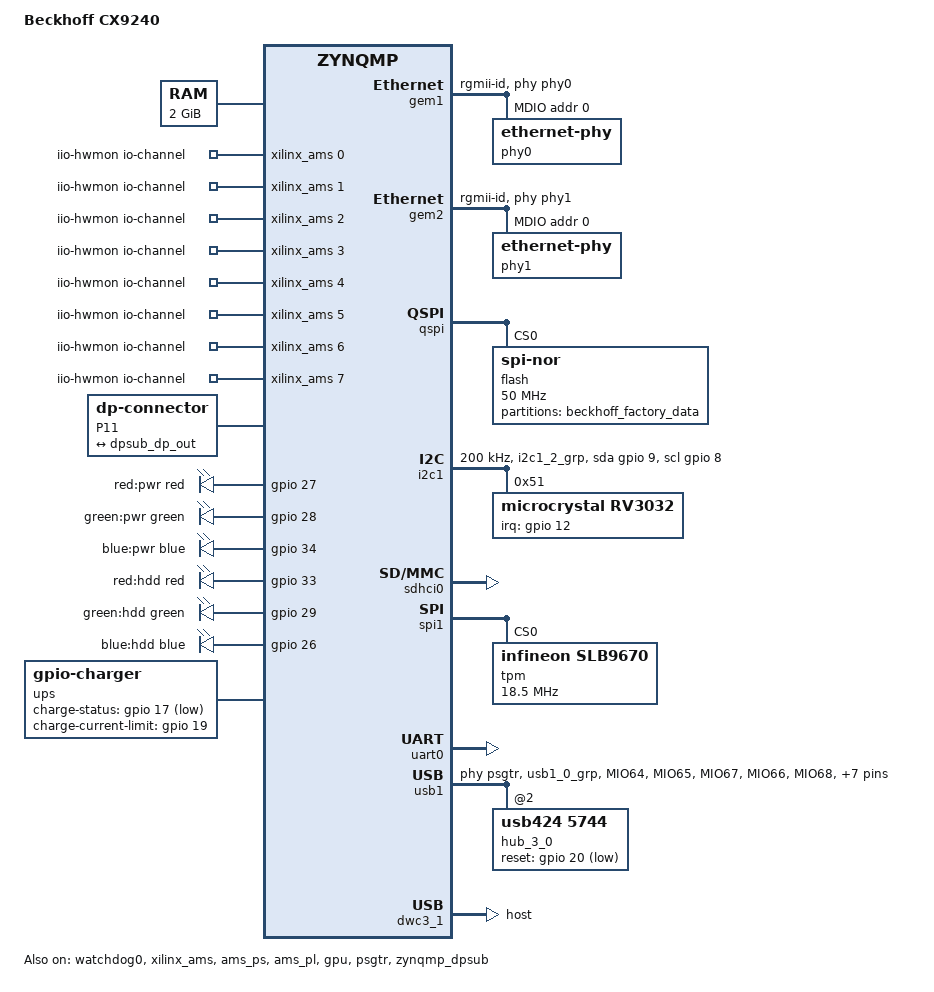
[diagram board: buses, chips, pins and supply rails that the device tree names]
// SPDX-License-Identifier: GPL-2.0+
/*
 * dts file for Beckhoff CX9240
 *
 * (C) Copyright 2023, Beckhoff Automation GmbH & Co. KG
 *
 * Steffen Dirkwinkel <s.dirkwinkel@beckhoff.com>
 */

/dts-v1/;

#include "zynqmp.dtsi"
#include "zynqmp-clk-ccf.dtsi"
#include <dt-bindings/gpio/gpio.h>
#include <dt-bindings/pinctrl/pinctrl-zynqmp.h>
#include <dt-bindings/phy/phy.h>
#include <dt-bindings/interrupt-controller/irq.h>
#include <dt-bindings/leds/common.h>

/ {
	model = "Beckhoff CX9240";
	compatible = "beckhoff,cx9240-rev1", "beckhoff,cx9240",
		     "xlnx,zynqmp";

	aliases {
		ethernet0 = &gem2;
		ethernet1 = &gem1;
		rtc0 = &rv3032;
		serial0 = &uart0;
		usb0 = &usb1;
	};

	chosen {
		bootargs = "earlycon";
		stdout-path = "serial0:115200n8";
	};

	memory {
		device_type = "memory";
		reg = <0x0 0x0 0x0 0x7ff00000>;
	};

	iio-hwmon {
		compatible = "iio-hwmon";
		io-channels = <&xilinx_ams 0>, <&xilinx_ams 1>, <&xilinx_ams 2>,
			      <&xilinx_ams 3>, <&xilinx_ams 4>, <&xilinx_ams 5>,
			      <&xilinx_ams 6>, <&xilinx_ams 7>, <&xilinx_ams 8>,
			      <&xilinx_ams 9>, <&xilinx_ams 10>,
			      <&xilinx_ams 11>, <&xilinx_ams 12>;
	};


	/*
	5P49V6975A234LTGI
	OUT1 33.33MHz PS
	OUT2 26MHz USB3
	OUT3 27MHz DP
	OUT4 24MHz USB2
	*/

	clock_5p49v6975_1: 5p49v6975_1 { /* OUT1 PS */
		compatible = "fixed-clock";
		#clock-cells = <0>;
		clock-frequency = <33330000>;
	};

	clock_5p49v6975_2: 5p49v6975_2 { /* OUT2 USB3 */
		compatible = "fixed-clock";
		#clock-cells = <0>;
		clock-frequency = <26000000>;
	};

	clock_5p49v6975_3: 5p49v6975_3 { /* OUT3 DP */
		compatible = "fixed-clock";
		#clock-cells = <0>;
		clock-frequency = <27000000>;
	};

	clock_5p49v6975_4: 5p49v6975_4 { /* OUT4 DP */
		compatible = "fixed-clock";
		#clock-cells = <0>;
		clock-frequency = <26000000>;
	};

	dpcon {
		compatible = "dp-connector";
		label = "P11";
		type = "full-size";

		port {
			dpcon_in: endpoint {
				remote-endpoint = <&dpsub_dp_out>;
			};
		};
	};

	leds {
		compatible = "gpio-leds";
		/* Power LED: green on "ups-charging" (power present),
		 * red+blue on "ups-not-charging" (power loss = violet). */
		pwr-red {
			color = <LED_COLOR_ID_RED>;
			default-state = "off";
			gpios = <&gpio 27 GPIO_ACTIVE_HIGH>;
			label = "red:pwr";
			linux,default-trigger = "ups-not-charging";
			panic-indicator;
		};

		pwr-green {
			color = <LED_COLOR_ID_GREEN>;
			default-state = "on";
			gpios = <&gpio 28 GPIO_ACTIVE_HIGH>;
			label = "green:pwr";
			linux,default-trigger = "ups-charging";
		};

		pwr-blue {
			color = <LED_COLOR_ID_BLUE>;
			default-state = "off";
			gpios = <&gpio 34 GPIO_ACTIVE_HIGH>;
			label = "blue:pwr";
			linux,default-trigger = "ups-not-charging";
		};

		hdd-red {
			color = <LED_COLOR_ID_RED>;
			default-state = "off";
			gpios = <&gpio 33 GPIO_ACTIVE_HIGH>;
			label = "red:hdd";
		};

		hdd-green {
			color = <LED_COLOR_ID_GREEN>;
			default-state = "off";
			gpios = <&gpio 29 GPIO_ACTIVE_HIGH>;
			linux,default-trigger = "mmc0";
			label = "green:hdd";
		};

		hdd-blue {
			color = <LED_COLOR_ID_BLUE>;
			default-state = "off";
			gpios = <&gpio 26 GPIO_ACTIVE_HIGH>;
			label = "blue:hdd";
		};
	};

	sysinfo {
		compatible = "u-boot,sysinfo-nvmem-cell";
		nvmem-cells = <&product>, <&serial>, <&version>, <&option>, <&product>, <&asset_tag>;
		nvmem-cell-names = "system_product", "system_serial", "system_version", "system_sku", "baseboard_product", "chassis_asset_tag";

		smbios {
			system {
				manufacturer = "Beckhoff Automation GmbH & Co. KG";
				/* product set by nvmem cells */
				/* serial set by nvmem cells */
				/* version set by nvmem cells */
				/* sku set by nvmem cells */
				family = "CX9240";
			};

			baseboard {
				manufacturer = "Beckhoff Automation GmbH & Co. KG";
				/* product set by nvmem cells */
			};

			chassis {
				manufacturer = "Beckhoff Automation GmbH & Co. KG";
				/* asset tag set by nvmem cells */
			};
		};
	};

	ups {
		compatible = "gpio-charger";
		charger-type = "ups";

		charge-status-gpios = <&gpio 17 GPIO_ACTIVE_LOW>;

		charge-current-limit-gpios = <&gpio 19 GPIO_ACTIVE_HIGH>;
		charge-current-limit-mapping = <1 0x00>, // 1 (any nonzero value) => GPIO 19 low, chager enable
									   <0 0x01>; // 0 => GPIO 19 high, chager disable
		charge-current-limit-default-microamp = <0x01>;
	};

	firmware {
		/delete-node/ optee;
	};
};

&fpd_dma_chan1 {
	status = "okay";
};

&fpd_dma_chan2 {
	status = "okay";
};

&fpd_dma_chan3 {
	status = "okay";
};

&fpd_dma_chan4 {
	status = "okay";
};

&fpd_dma_chan5 {
	status = "okay";
};

&fpd_dma_chan6 {
	status = "okay";
};

&fpd_dma_chan7 {
	status = "okay";
};

&fpd_dma_chan8 {
	status = "okay";
};

&gem1 {
	status = "okay";
	nvmem-cells = <&gem1_mac_address>;
	nvmem-cell-names = "mac-address";
	phy-handle = <&phy0>;
	phy-mode = "rgmii-id";
	mdio: mdio {
		#address-cells = <1>;
		#size-cells = <0>;
		phy0: ethernet-phy@0 { /* Broadcom B50212E */
			reg = <0>;
		};
	};
};

&gem2 {
	status = "okay";
	nvmem-cells = <&gem2_mac_address>;
	nvmem-cell-names = "mac-address";
	phy-handle = <&phy1>;
	phy-mode = "rgmii-id";
	mdio1: mdio {
		#address-cells = <1>;
		#size-cells = <0>;
		phy1: ethernet-phy@1 { /* Broadcom B50212E */
			reg = <0>;
		};
	};
};

&gpio {
	status = "okay";
};

&qspi {
	status = "okay";
	flash@0 {
		compatible = "jedec,spi-nor"; /* IS25LP016D-JULA3 */
		reg = <0>;
		spi-tx-bus-width = <4>;
		spi-rx-bus-width = <4>;
		spi-max-frequency = <50000000>;
		#address-cells = <1>;
		#size-cells = <1>;

		partitions {
			compatible = "fixed-partitions";
			#address-cells = <1>;
			#size-cells = <1>;

			partition@0 {
				label = "beckhoff_factory_data";
				reg = <0x0 0x11000>;
				compatible = "nvmem-cells";
				#address-cells = <1>;
				#size-cells = <1>;

				product: product@24 {
					reg = <0x24 0x10>;
				};

				serial: serial@34 {
					reg = <0x34 0x10>;
				};

				option: option@44 {
					reg = <0x44 0x20>;
				};

				gem2_mac_address: mac-address@64 {
					reg = <0x64 0x6>;
				};

				gem1_mac_address: mac-address@6A {
					reg = <0x6A 0x6>;
				};

				fpga_name: fpga_name@C4 {
					reg = <0xC4 0x20>;
				};

				version: version@E4 {
					reg = <0xE4 0x20>;
				};

				asset_tag: asset_tag@104 {
					reg = <0x104 0x20>;
				};
			};
		};
	};
};

&i2c1 {
	status = "okay";
	clock-frequency = <200000>;
	scl-gpios = <&gpio 8 (GPIO_ACTIVE_HIGH | GPIO_OPEN_DRAIN)>;
	sda-gpios = <&gpio 9 (GPIO_ACTIVE_HIGH | GPIO_OPEN_DRAIN)>;
	pinctrl-names = "default", "gpio";
	pinctrl-0 = <&pinctrl_i2c1_default>;
	pinctrl-1 = <&pinctrl_i2c1_gpio>;

	rv3032: rtc@51 {
		#address-cells = <1>;
		#size-cells = <1>;
		compatible = "microcrystal,rv3032";
		reg = <0x51>;
		interrupt-parent = <&gpio>;
		interrupts = <12 IRQ_TYPE_LEVEL_LOW>;
	};
};

&pinctrl0 {
	status = "okay";

	pinctrl_usb1_default: usb1-default {
		mux {
			groups = "usb1_0_grp";
			function = "usb1";
		};

		conf {
			groups = "usb1_0_grp";
			power-source = <IO_STANDARD_LVCMOS18>;
		};

		conf-rx {
			pins = "MIO64", "MIO65", "MIO67";
			bias-high-impedance;
			drive-strength = <12>;
			slew-rate = <SLEW_RATE_FAST>;
		};

		conf-tx {
			pins = "MIO66", "MIO68", "MIO69", "MIO70", "MIO71",
			       "MIO72", "MIO73", "MIO74", "MIO75";
			bias-disable;
			drive-strength = <4>;
			slew-rate = <SLEW_RATE_SLOW>;
		};
	};

	pinctrl_i2c1_default: i2c1-default {
		mux {
			groups = "i2c1_2_grp";
			function = "i2c1";
		};

		conf {
			groups = "i2c1_2_grp";
			bias-pull-up;
			slew-rate = <SLEW_RATE_SLOW>;
			power-source = <IO_STANDARD_LVCMOS33>;
		};
	};

	pinctrl_i2c1_gpio: i2c1-gpio {
		mux {
			groups = "gpio0_8_grp", "gpio0_9_grp";
			function = "gpio0";
		};

		conf {
			groups = "gpio0_8_grp", "gpio0_9_grp";
			slew-rate = <SLEW_RATE_SLOW>;
			power-source = <IO_STANDARD_LVCMOS33>;
		};
	};
};

&sdhci0 {
	status = "okay";
	disable-wp;
	no-1-8-v;
	xlnx,mio-bank = <0x0>;
};

&spi1 {
	status = "okay";
	label = "TPM";
	num-cs = <1>;
	tpm@0 {
		compatible = "infineon,slb9670", "tcg,tpm_tis-spi";
		reg = <0>;
		spi-max-frequency = <18500000>;
	};
};

&uart0 {
	status = "okay";
};

&usb1 {
	status = "okay";
	pinctrl-names = "default";
	pinctrl-0 = <&pinctrl_usb1_default>;
	phy-names = "usb3-phy";
	phys = <&psgtr 3 PHY_TYPE_USB3 1 3>;

	hub_3_0: hub@2 {
		compatible = "usb424,5744";
		reset-gpios = <&gpio 20 GPIO_ACTIVE_LOW>;
	};
};

&dwc3_1 {
	status = "okay";
	dr_mode = "host";
	maximum-speed = "super-speed";
};

&watchdog0 {
	status = "okay";
};

&xilinx_ams {
	status = "okay";
};

&ams_ps {
	status = "okay";
};

&ams_pl {
	status = "okay";
};

&gpu {
	status = "okay";
};

&psgtr {
	status = "okay";
	/* dp, nc, nc usb3 */
	clocks = <&clock_5p49v6975_3>, <&clock_5p49v6975_2>;
	clock-names = "ref0", "ref3";
};

&zynqmp_dpdma {
	status = "okay";
};

&zynqmp_dpsub {
	status = "okay";
	phy-names = "dp-phy0", "dp-phy1";
	phys = <&psgtr 1 PHY_TYPE_DP 0 0>,
	       <&psgtr 0 PHY_TYPE_DP 1 0>;

	ports {
		port@5 {
			dpsub_dp_out: endpoint {
				remote-endpoint = <&dpcon_in>;
			};
		};
	};
};
